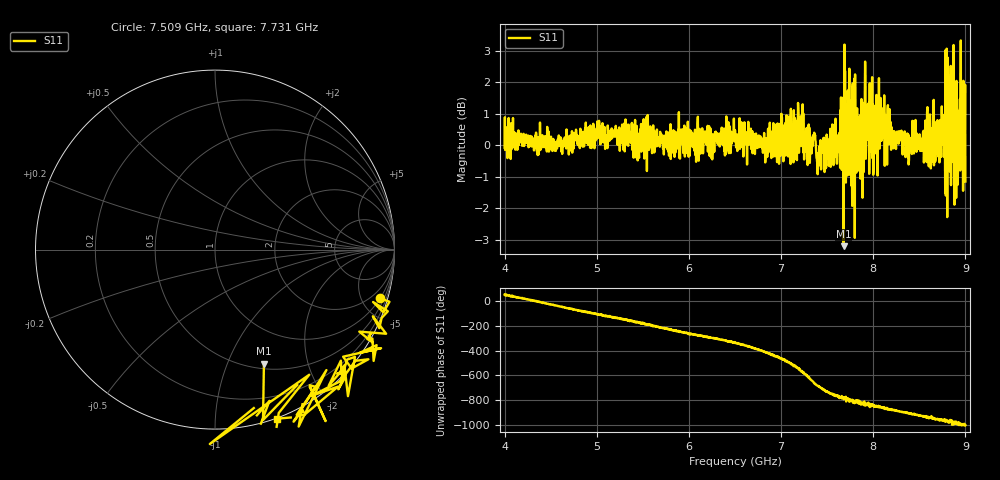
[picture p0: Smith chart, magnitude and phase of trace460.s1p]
! Created with skrf 1.8.0 (http://scikit-rf.org).
# Hz S RI R 50.0
!freq ReS11 ImS11
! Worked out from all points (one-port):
!   1601 points, 4 GHz to 9 GHz, reference 50 ohm
!   lowest |S11| = -3.2 dB at 7.678 GHz (marker M1), VSWR 5.49, Z = 27.9 - j68.1 ohm
!   |S11| at or under -10 dB: nowhere
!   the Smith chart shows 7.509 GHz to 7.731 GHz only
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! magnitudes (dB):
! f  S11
! 4 GHz  -0.1
! 4.625 GHz  -0.3
! 5.009 GHz  0.3
! 5.25 GHz  -0.2
! 5.875 GHz  0.2
! 6.5 GHz  0.5
! 6.825 GHz  0.0
! 7.125 GHz  0.4
! 7.209 GHz  0.9
! 7.262 GHz  0.4
! 7.359 GHz  0.4
! 7.409 GHz  -0.5
! 7.678 GHz  -3.2
! 7.75 GHz  -0.1
! 7.769 GHz  -0.8
! 7.806 GHz  0.4
! 7.828 GHz  -0.3
! 7.881 GHz  0.5
! 7.928 GHz  1.0
! 7.981 GHz  -0.2
! 8.097 GHz  0.2
! 8.375 GHz  0.2
! 8.697 GHz  0.8
! 8.778 GHz  0.1
! 8.822 GHz  1.2
! 8.906 GHz  0.3
! 8.972 GHz  0.6
! 9 GHz  -1.1
